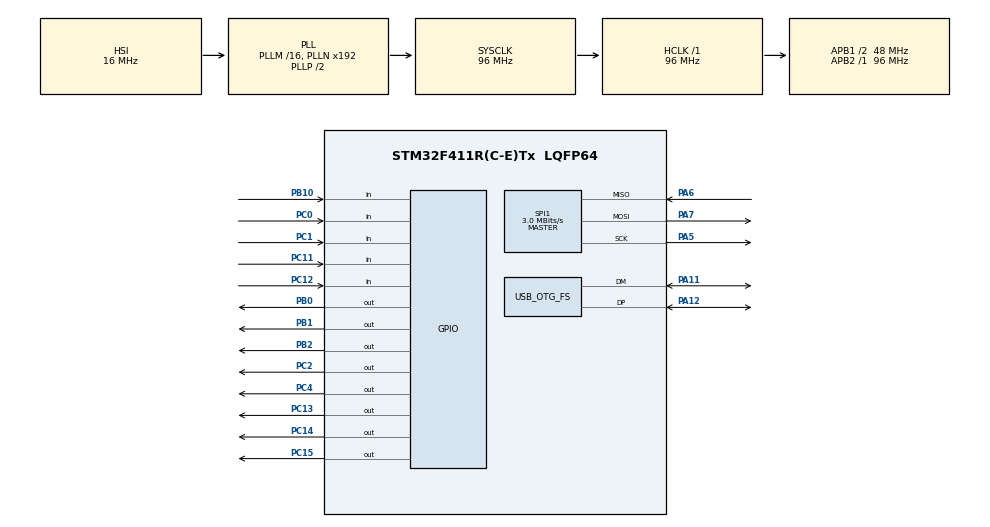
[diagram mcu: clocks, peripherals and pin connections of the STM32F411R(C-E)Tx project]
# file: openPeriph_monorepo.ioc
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Mcu.Family=STM32F4
Mcu.Name=STM32F411R(C-E)Tx
Mcu.Package=LQFP64
NVIC.OTG_FS_IRQn=true\:0\:0\:false\:false\:true\:false\:true\:true
NVIC.PriorityGroup=NVIC_PRIORITYGROUP_4
PA11.Mode=Device_Only
PA11.Signal=USB_OTG_FS_DM
PA12.Mode=Device_Only
PA12.Signal=USB_OTG_FS_DP
PA13.Mode=Serial_Wire
PA13.Signal=SYS_JTMS-SWDIO
PA14.Mode=Serial_Wire
PA14.Signal=SYS_JTCK-SWCLK
PA5.Mode=Full_Duplex_Master
PA5.Signal=SPI1_SCK
PA6.Mode=Full_Duplex_Master
PA6.Signal=SPI1_MISO
PA7.Mode=Full_Duplex_Master
PA7.Signal=SPI1_MOSI
PB0.Signal=GPIO_Output
PB1.Signal=GPIO_Output
PB10.Signal=GPIO_Input
PB2.Signal=GPIO_Output
PC0.Signal=GPIO_Input
PC1.Signal=GPIO_Input
PC11.GPIO_PuPd=GPIO_PULLUP
PC11.Signal=GPIO_Input
PC12.Signal=GPIO_Input
PC13-ANTI_TAMP.Signal=GPIO_Output
PC14-OSC32_IN.Signal=GPIO_Output
PC15-OSC32_OUT.Signal=GPIO_Output
PC2.Signal=GPIO_Output
PC4.Signal=GPIO_Output
ProjectManager.HeapSize=0x200
ProjectManager.StackSize=0x400
ProjectManager.TargetToolchain=STM32CubeIDE
RCC.AHBFreq_Value=96000000
RCC.APB1CLKDivider=RCC_HCLK_DIV2
RCC.APB1Freq_Value=48000000
RCC.APB1TimFreq_Value=96000000
RCC.APB2Freq_Value=96000000
RCC.APB2TimFreq_Value=96000000
RCC.CortexFreq_Value=96000000
RCC.HCLKFreq_Value=96000000
RCC.HSE_VALUE=25000000
RCC.HSI_VALUE=16000000
RCC.LSE_VALUE=32768
RCC.PLLSource=RCC_PLLSOURCE_HSI
RCC.PLLSourceVirtualString=RCC_PLLSOURCE_HSI
RCC.SYSCLKFreq_VALUE=96000000
RCC.SYSCLKSource=RCC_SYSCLKSOURCE_PLLCLK
RCC.VCOOutputFreq_Value=192000000
SPI1.BaudRatePrescaler=SPI_BAUDRATEPRESCALER_32
SPI1.CalculateBaudRate=3.0 MBits/s
SPI1.Direction=SPI_DIRECTION_2LINES
SPI1.Mode=SPI_MODE_MASTER
SPI1.VirtualType=VM_MASTER
USB_DEVICE.CLASS_NAME_FS=CDC
USB_DEVICE.VirtualMode=Cdc
USB_DEVICE.VirtualModeFS=Cdc_FS
USB_OTG_FS.VirtualMode=Device_Only
VP_USB_DEVICE_VS_USB_DEVICE_CDC_FS.Mode=CDC_FS
board=custom

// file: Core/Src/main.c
/* USER CODE BEGIN Header */
/**
  ******************************************************************************
  * @file           : main.c
  * @brief          : Main program body
  ******************************************************************************
  * @attention
  *
  * Copyright (c) 2026 STMicroelectronics.
  * All rights reserved.
  *
  * This software is licensed under terms that can be found in the LICENSE file
  * in the root directory of this software component.
  * If no LICENSE file comes with this software, it is provided AS-IS.
  *
  ******************************************************************************
  */
/* USER CODE END Header */
#include "main.h"
#include "usb_device.h"

/* USER CODE BEGIN Includes */
#include "openperiph_config.h"
#include "app_commands.h"
#include "app_master.h"
#include "app_slave.h"
#include "display_service.h"
#include "openperiph_board.h"
#include "rf_link.h"
#include "usbd_cdc_if.h"
#include "ring_buffer.h"
#include "usb_protocol.h"
#include <stdio.h>
#include <string.h>
/* USER CODE END Includes */

SPI_HandleTypeDef hspi1;

/* USER CODE BEGIN PV */
RingBuffer_t g_usb_rx_ringbuf;
volatile uint8_t g_usb_rx_flag = 0;
static volatile uint8_t g_usb_rx_overflow = 0;
static ProtocolParser_t g_parser;
static uint8_t g_tx_buf[PKT_MAX_FRAME];
static bool g_rf_link_ready = false;
/* USER CODE END PV */

void SystemClock_Config(void);
static void MX_GPIO_Init(void);
static void MX_SPI1_Init(void);
/* USER CODE BEGIN PFP */
#if OPENPERIPH_ROLE != OPENPERIPH_ROLE_MASTER
static void ProcessPacket(const Packet_t *pkt);
#endif
void OpenPeriph_HandleUsbRxBytes(const uint8_t *buf, uint32_t len);
void OpenPeriph_HandleUsbPacket(const Packet_t *pkt);
static void SendResponse(PacketType_t type, const uint8_t *payload, uint16_t len);
void OpenPeriph_SendUsbAck(uint8_t packet_id);
void OpenPeriph_SendUsbNack(uint8_t packet_id, uint8_t reason);
void OpenPeriph_SendUsbPacket(PacketType_t type, const uint8_t *payload, uint16_t len);
uint16_t OpenPeriph_GetUsbRxAvailable(void);
void OpenPeriph_ResetSystem(void);
bool OpenPeriph_RenderLocalHello(void);
/* USER CODE END PFP */

int main(void)
{

  /* MCU Configuration--------------------------------------------------------*/

  /* Reset of all peripherals, Initializes the Flash interface and the Systick. */
  HAL_Init();

  /* Configure the system clock */
  SystemClock_Config();

  /* Initialize all configured peripherals */
  MX_GPIO_Init();
  MX_USB_DEVICE_Init();
  MX_SPI1_Init();
  /* USER CODE BEGIN 2 */
  OpenPeriph_BoardInit();
  g_rf_link_ready = RfLink_Init();
#if OPENPERIPH_ROLE == OPENPERIPH_ROLE_MASTER
  AppMaster_Init();
#endif
#if OPENPERIPH_ROLE == OPENPERIPH_ROLE_SLAVE
  AppSlave_Init();
#endif
  /* Blink PC14 three times to confirm firmware is running */
  //For Debug
  for (int i = 0; i < 3; i++) {
      HAL_GPIO_WritePin(GPIOC, GPIO_PIN_14, GPIO_PIN_SET);
      HAL_Delay(200);
      HAL_GPIO_WritePin(GPIOC, GPIO_PIN_14, GPIO_PIN_RESET);
      HAL_Delay(200);
  }
  RingBuf_Init(&g_usb_rx_ringbuf);
  Protocol_Init(&g_parser);
  HAL_Delay(100);

  /* Startup message */
  if (g_rf_link_ready) {
      char hello[96];
      const DisplayServicePanelInfo_t *display_info = DisplayService_GetPanelInfo();
      int hello_len = snprintf(hello,
          sizeof(hello),
          "\r\nopenPeriph USB Bridge v1.0 ready (%ux%u)\r\n",
          display_info->width_px,
          display_info->height_px);
      if (hello_len < 0) {
          hello_len = 0;
      } else if ((size_t)hello_len >= sizeof(hello)) {
          hello_len = (int)(sizeof(hello) - 1U);
      }
      SendResponse(PKT_TYPE_STATUS, (const uint8_t *)hello, (uint16_t)hello_len);
  } else {
      const uint8_t rf_init_error = 0x10;
      SendResponse(PKT_TYPE_ERROR, &rf_init_error, 1);
  }
  /* USER CODE END 2 */

  /* Infinite loop */
  while (1)
  {

    /* USER CODE BEGIN 3 */
    if (g_usb_rx_overflow) {
        __disable_irq();
        /* Reset shared parser state before releasing the overflow latch. */
        RingBuf_Init(&g_usb_rx_ringbuf);
        Protocol_Init(&g_parser);
        g_usb_rx_overflow = 0;
        g_usb_rx_flag = 0;
        __enable_irq();
        {
            const uint8_t overflow_code = 0x01;
            SendResponse(PKT_TYPE_ERROR, &overflow_code, 1);
        }
        continue;
    }

    if (g_usb_rx_flag) {
        g_usb_rx_flag = 0;
        uint8_t byte;
        while (RingBuf_ReadByte(&g_usb_rx_ringbuf, &byte)) {
            if (g_usb_rx_overflow) {
                break;
            }
            if (Protocol_ParseByte(&g_parser, byte)) {
                if (g_parser.pkt.valid) {
                    HAL_GPIO_TogglePin(GPIOC, GPIO_PIN_13);
                    OpenPeriph_HandleUsbPacket(&g_parser.pkt);
                } else {
                    uint16_t len = Protocol_BuildNACK(&g_parser,
                        g_parser.pkt.id, 0x01, g_tx_buf);
                    CDC_Transmit_Blocking(g_tx_buf, len, 100);
                }
            }
        }
    }

#if OPENPERIPH_ROLE == OPENPERIPH_ROLE_MASTER
    AppMaster_PollRfEvents();
#endif

#if OPENPERIPH_ROLE == OPENPERIPH_ROLE_SLAVE
    AppSlave_Poll();
#endif
  }
  /* USER CODE END 3 */
}

void SystemClock_Config(void)
{
  RCC_OscInitTypeDef RCC_OscInitStruct = {0};
  RCC_ClkInitTypeDef RCC_ClkInitStruct = {0};

  /** Configure the main internal regulator output voltage
  */
  __HAL_RCC_PWR_CLK_ENABLE();
  __HAL_PWR_VOLTAGESCALING_CONFIG(PWR_REGULATOR_VOLTAGE_SCALE1);

  /** Initializes the RCC Oscillators according to the specified parameters
  * in the RCC_OscInitTypeDef structure.
  */
  RCC_OscInitStruct.OscillatorType = RCC_OSCILLATORTYPE_HSI;
  RCC_OscInitStruct.HSIState = RCC_HSI_ON;
  RCC_OscInitStruct.HSICalibrationValue = RCC_HSICALIBRATION_DEFAULT;
  RCC_OscInitStruct.PLL.PLLState = RCC_PLL_ON;
  RCC_OscInitStruct.PLL.PLLSource = RCC_PLLSOURCE_HSI;
  RCC_OscInitStruct.PLL.PLLM = 16;
  RCC_OscInitStruct.PLL.PLLN = 192;
  RCC_OscInitStruct.PLL.PLLP = RCC_PLLP_DIV2;
  RCC_OscInitStruct.PLL.PLLQ = 4;
  if (HAL_RCC_OscConfig(&RCC_OscInitStruct) != HAL_OK)
  {
    Error_Handler();
  }

  /** Initializes the CPU, AHB and APB buses clocks
  */
  RCC_ClkInitStruct.ClockType = RCC_CLOCKTYPE_HCLK|RCC_CLOCKTYPE_SYSCLK
                              |RCC_CLOCKTYPE_PCLK1|RCC_CLOCKTYPE_PCLK2;
  RCC_ClkInitStruct.SYSCLKSource = RCC_SYSCLKSOURCE_PLLCLK;
  RCC_ClkInitStruct.AHBCLKDivider = RCC_SYSCLK_DIV1;
  RCC_ClkInitStruct.APB1CLKDivider = RCC_HCLK_DIV2;
  RCC_ClkInitStruct.APB2CLKDivider = RCC_HCLK_DIV1;

  if (HAL_RCC_ClockConfig(&RCC_ClkInitStruct, FLASH_LATENCY_3) != HAL_OK)
  {
    Error_Handler();
  }
}

static void MX_SPI1_Init(void)
{

  /* SPI1 parameter configuration*/
  hspi1.Instance = SPI1;
  hspi1.Init.Mode = SPI_MODE_MASTER;
  hspi1.Init.Direction = SPI_DIRECTION_2LINES;
  hspi1.Init.DataSize = SPI_DATASIZE_8BIT;
  hspi1.Init.CLKPolarity = SPI_POLARITY_LOW;
  hspi1.Init.CLKPhase = SPI_PHASE_1EDGE;
  hspi1.Init.NSS = SPI_NSS_SOFT;
  hspi1.Init.BaudRatePrescaler = SPI_BAUDRATEPRESCALER_32;
  hspi1.Init.FirstBit = SPI_FIRSTBIT_MSB;
  hspi1.Init.TIMode = SPI_TIMODE_DISABLE;
  hspi1.Init.CRCCalculation = SPI_CRCCALCULATION_DISABLE;
  hspi1.Init.CRCPolynomial = 10;
  if (HAL_SPI_Init(&hspi1) != HAL_OK)
  {
    Error_Handler();
  }

}

static void MX_GPIO_Init(void)
{
  GPIO_InitTypeDef GPIO_InitStruct = {0};

  /* GPIO Ports Clock Enable */
  __HAL_RCC_GPIOC_CLK_ENABLE();
  __HAL_RCC_GPIOA_CLK_ENABLE();
  __HAL_RCC_GPIOB_CLK_ENABLE();

  /*Configure GPIO pin Output Level */
  HAL_GPIO_WritePin(GPIOC, GPIO_PIN_13|GPIO_PIN_14|GPIO_PIN_15|GPIO_PIN_2
                          |GPIO_PIN_4, GPIO_PIN_RESET);

  /*Configure GPIO pin Output Level */
  HAL_GPIO_WritePin(GPIOB, GPIO_PIN_0|GPIO_PIN_1|GPIO_PIN_2, GPIO_PIN_RESET);

  /*Configure GPIO pins : PC13 PC14 PC15 PC2
                           PC4 */
  GPIO_InitStruct.Pin = GPIO_PIN_13|GPIO_PIN_14|GPIO_PIN_15|GPIO_PIN_2
                          |GPIO_PIN_4;
  GPIO_InitStruct.Mode = GPIO_MODE_OUTPUT_PP;
  GPIO_InitStruct.Pull = GPIO_NOPULL;
  GPIO_InitStruct.Speed = GPIO_SPEED_FREQ_LOW;
  HAL_GPIO_Init(GPIOC, &GPIO_InitStruct);

  /*Configure GPIO pins : PC0 PC1 PC12 */
  GPIO_InitStruct.Pin = GPIO_PIN_0|GPIO_PIN_1|GPIO_PIN_12;
  GPIO_InitStruct.Mode = GPIO_MODE_INPUT;
  GPIO_InitStruct.Pull = GPIO_NOPULL;
  HAL_GPIO_Init(GPIOC, &GPIO_InitStruct);

  /*Configure GPIO pin : PC11 */
  GPIO_InitStruct.Pin = GPIO_PIN_11;
  GPIO_InitStruct.Mode = GPIO_MODE_INPUT;
  GPIO_InitStruct.Pull = GPIO_PULLUP;
  HAL_GPIO_Init(GPIOC, &GPIO_InitStruct);

  /*Configure GPIO pins : PB0 PB1 PB2 */
  GPIO_InitStruct.Pin = GPIO_PIN_0|GPIO_PIN_1|GPIO_PIN_2;
  GPIO_InitStruct.Mode = GPIO_MODE_OUTPUT_PP;
  GPIO_InitStruct.Pull = GPIO_NOPULL;
  GPIO_InitStruct.Speed = GPIO_SPEED_FREQ_LOW;
  HAL_GPIO_Init(GPIOB, &GPIO_InitStruct);

  /*Configure GPIO pin : PB10 */
  GPIO_InitStruct.Pin = GPIO_PIN_10;
  GPIO_InitStruct.Mode = GPIO_MODE_INPUT;
  GPIO_InitStruct.Pull = GPIO_NOPULL;
  HAL_GPIO_Init(GPIOB, &GPIO_InitStruct);

  /*Configure GPIO pin : PC11 */
  GPIO_InitStruct.Pin = GPIO_PIN_11;
  GPIO_InitStruct.Mode = GPIO_MODE_INPUT;
  GPIO_InitStruct.Pull = GPIO_PULLUP;
  HAL_GPIO_Init(GPIOC, &GPIO_InitStruct);

}

/* USER CODE BEGIN 4 */

void OpenPeriph_HandleUsbRxBytes(const uint8_t *buf, uint32_t len)
{
    if (g_usb_rx_overflow) {
        g_usb_rx_flag = 1;
        return;
    }

    for (uint32_t i = 0; i < len; ++i) {
        if (!RingBuf_WriteByte(&g_usb_rx_ringbuf, buf[i])) {
            g_usb_rx_overflow = 1;
            break;
        }
    }

    g_usb_rx_flag = 1;
}

void OpenPeriph_HandleUsbPacket(const Packet_t *pkt)
{
#if OPENPERIPH_ROLE == OPENPERIPH_ROLE_MASTER
    AppMaster_HandleUsbPacket(pkt);
#else
    ProcessPacket(pkt);
#endif
}

static void SendResponse(PacketType_t type, const uint8_t *payload, uint16_t len)
{
    uint16_t frame_len = Protocol_BuildPacket(&g_parser, type, payload, len, g_tx_buf);
    CDC_Transmit_Blocking(g_tx_buf, frame_len, 200);
}

void OpenPeriph_SendUsbAck(uint8_t packet_id)
{
    uint16_t len = Protocol_BuildACK(&g_parser, packet_id, g_tx_buf);
    CDC_Transmit_Blocking(g_tx_buf, len, 100);
}

void OpenPeriph_SendUsbNack(uint8_t packet_id, uint8_t reason)
{
    uint16_t len = Protocol_BuildNACK(&g_parser, packet_id, reason, g_tx_buf);
    CDC_Transmit_Blocking(g_tx_buf, len, 100);
}

void OpenPeriph_SendUsbPacket(PacketType_t type, const uint8_t *payload, uint16_t len)
{
    SendResponse(type, payload, len);
}

uint16_t OpenPeriph_GetUsbRxAvailable(void)
{
    return (uint16_t)RingBuf_Available(&g_usb_rx_ringbuf);
}

void OpenPeriph_ResetSystem(void)
{
    HAL_Delay(10);
    NVIC_SystemReset();
}

bool OpenPeriph_RenderLocalHello(void)
{
    return DisplayService_RenderText(0U,
                                     0U,
                                     DISPLAY_SERVICE_FONT_16,
                                     "Hello World",
                                     true,
                                     true);
}

#if OPENPERIPH_ROLE != OPENPERIPH_ROLE_MASTER
static void ProcessPacket(const Packet_t *pkt)
{
    if (pkt == NULL) {
        return;
    }

    switch (pkt->type) {
    case PKT_TYPE_IMAGE_DATA:
    case PKT_TYPE_EMAIL_DATA:
    case PKT_TYPE_TEXT_DATA:
        /* TODO: forward to CC1101. For now, ACK back. */
        {
            uint16_t len = Protocol_BuildACK(&g_parser, pkt->id, g_tx_buf);
            CDC_Transmit_Blocking(g_tx_buf, len, 100);
        }
        break;

    case PKT_TYPE_FILE_START:
    case PKT_TYPE_FILE_END:
        {
            uint16_t len = Protocol_BuildACK(&g_parser, pkt->id, g_tx_buf);
            CDC_Transmit_Blocking(g_tx_buf, len, 100);
        }
        break;

    case PKT_TYPE_COMMAND:
        if (!AppCommands_HandleLocalCommand(pkt)) {
            OpenPeriph_SendUsbNack(pkt->id, 0x04U);
        }
        break;

    default:
        {
            uint16_t len = Protocol_BuildNACK(&g_parser, pkt->id, 0x02, g_tx_buf);
            CDC_Transmit_Blocking(g_tx_buf, len, 100);
        }
        break;
    }
}
#endif

/* USER CODE END 4 */

void Error_Handler(void)
{
  __disable_irq();
  while (1)
  {
  }
}
